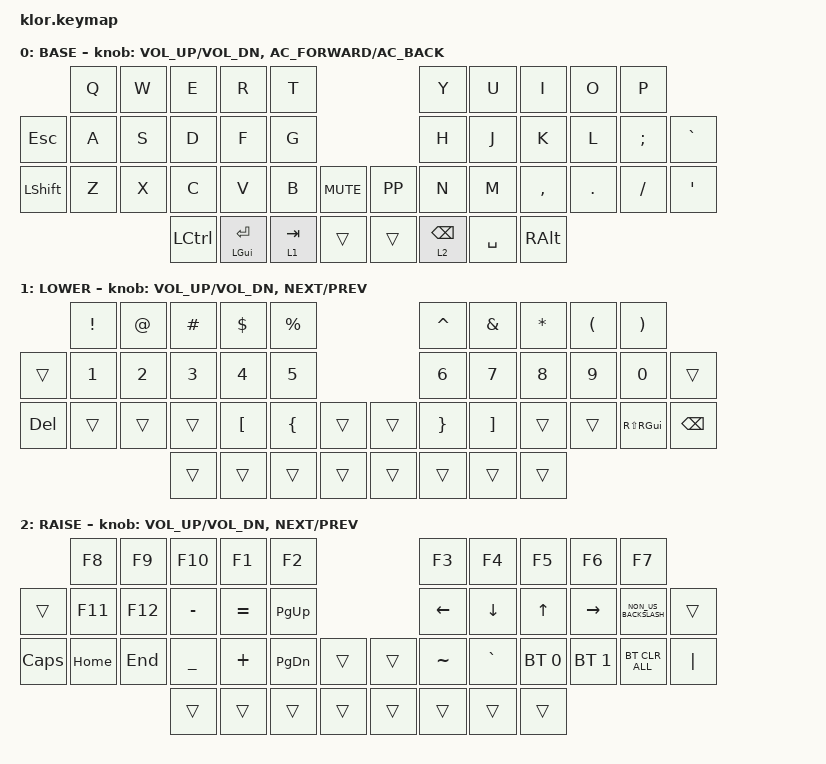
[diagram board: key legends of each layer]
//                               █         █    █            ▄▄▄▀▀▀▀▀▀▄▄▄        █▀▀▀▀▀▀▀▀▀▀█
//                               █        █     █          ▄▀            ▀▄      █          █
//                               █       █      █        ▄▀                ▀▄    █          █
//                               █      █       █        █                  █    █          █
//                               █     █        █       █                    █   █          █
//                               █    █         █       █                    █   █▄▄▄▄▄▄▄▄▄▄█
//                               █   █ █        █       █                    █   █      █
//                               █  █   █       █        █                  █    █       █
//                               █ █     █      █        ▀▄                ▄▀    █        █
//                               ██       █     █          ▀▄            ▄▀      █         █
//                               █         █    █▄▄▄▄▄▄▄▄    ▀▀▀▄▄▄▄▄▄▀▀▀        █          █
//
// ▄▄▄▄▄▄▄▄▄▄▄▄▄▄▄▄▄▄▄▄▄▄▄▄▄▄▄▄▄▄▄▄▄▄▄▄▄▄▄▄▄▄▄▄▄▄▄▄▄▄▄▄▄▄▄▄▄▄▄▄▄▄▄▄▄▄▄▄▄▄▄▄▄▄▄▄▄▄▄▄▄▄▄▄▄▄▄▄▄▄▄▄▄▄▄▄▄▄▄▄▄▄▄▄▄▄▄▄▄▄▄▄▄▄▄▄▄▄▄▄▄▄▄▄▄

#include <behaviors.dtsi>
#include <dt-bindings/zmk/bt.h>
#include <dt-bindings/zmk/keys.h>

#define BASE   0
#define RAISE  1
#define LOWER  2
#define ADJUST 3

&sensors {
    left_encoder { triggers-per-rotation = <15>; };

    right_encoder { triggers-per-rotation = <15>; };
};

/ {
    behaviors {
        hm: homerow_mods {
            compatible = "zmk,behavior-hold-tap";
            label = "HOMEROW_MODS";
            #binding-cells = <2>;
            tapping-term-ms = <250>;
            quick_tap_ms = <0>;
            flavor = "tap-preferred";
            bindings = <&kp>, <&kp>;
        };
    };

    combos {
        compatible = "zmk,combos";

        combo_esc {
            timeout-ms = <50>;
            key-positions = <0 1>;
            bindings = <&kp ESC>;
        };

        combo_closetab {
            timeout-ms = <50>;
            key-positions = <1 2>;
            bindings = <&macro_closetab>;
        };

        combo_lasttab {
            timeout-ms = <50>;
            key-positions = <2 3>;
            bindings = <&macro_lasttab>;
        };

        combo_prtscr {
            timeout-ms = <50>;
            key-positions = <3 4>;
            bindings = <&kp PSCRN>;
        };

        combo_terminal {
            timeout-ms = <50>;
            key-positions = <1 3>;
            bindings = <&macro_terminal>;
        };
    };

    macros {
        macro_closetab: macro_closetab {
            compatible = "zmk,behavior-macro";
            #binding-cells = <0>;
            bindings =
                <&macro_press>,
                <&kp LCTRL>,
                <&macro_tap>,
                <&kp F4>,
                <&macro_release>,
                <&kp LCTRL>;
        };

        macro_lasttab: macro_lasttab {
            compatible = "zmk,behavior-macro";
            #binding-cells = <0>;
            bindings =
                <&macro_press>,
                <&kp LCTRL>,
                <&macro_tap>,
                <&kp LS(T)>,
                <&macro_release>,
                <&kp LCTRL>;
        };

        macro_terminal: macro_terminal {
            compatible = "zmk,behavior-macro";
            #binding-cells = <0>;
            bindings =
                <&macro_press>,
                <&kp LCTRL>,
                <&macro_tap>,
                <&kp LA(T)>,
                <&macro_release>,
                <&kp LCTRL>;
        };
    };

    keymap {
        compatible = "zmk,keymap";

        // ▄▄▄▄▄▄▄▄▄▄▄▄▄▄▄▄▄▄▄▄▄▄▄▄▄▄▄▄▄▄▄▄▄▄▄▄▄▄▄▄▄▄▄▄▄▄▄▄▄▄▄▄▄▄▄▄▄▄▄▄▄▄▄▄▄▄▄▄▄▄▄▄▄▄▄▄▄▄▄▄▄▄▄▄▄▄▄▄▄▄▄▄▄▄▄▄▄▄▄▄▄▄▄▄▄▄▄▄▄▄▄▄▄▄▄▄▄▄▄▄▄▄▄▄▄▄▄▄▄▄▄▄▄▄▄▄▄▄▄▄▄▄

        base_layer {
            // ┌───────────────────────────────────────────────────────────┐

            label = "BASE";

            // └───────────────────────────────────────────────────────────┘
            /*           ┌─────────┬─────────┬─────────┬─────────┬─────────┐                    ┌─────────┬─────────┬─────────┬─────────┬─────────┐
             │    Q    │    W    │    E    │    R    │    T    │                    │    Y    │    U    │    I    │    O    │    P    │   
   ┌─────────┼─────────┼─────────┼─────────┼─────────┼─────────┤                    ├─────────┼─────────┼─────────┼─────────┼─────────┼─────────┐
   │   TAB   │    A    │    S    │    D    │    F    │    G    │                    │    H    │    J    │    K    │    L    │    ;    │    '    │
   ├─────────┼─────────┼─────────┼─────────┼─────────┼─────────┤╭────────╮╭────────╮├─────────┼─────────┼─────────┼─────────┼─────────┼─────────┤
   │   CTRL  │    Z    │    X    │    C    │    V    │    B    ││  MUTE  ││PLY/PSE ││    N    │    M    │    ,    │    .    │    /    │    \    │
   └─────────┴─────────┴─────────┼─────────┼─────────┼─────────┼╰────────╯╰────────╯┼─────────┼─────────┼─────────┼─────────┴─────────┴─────────┘
                                 │  LALT   │  LOWER  │  RALT   │  SPACE  ││  BSPCE  │  ENTER  │  RAISE  │    DEL  │  
                                 └─────────┴─────────┴─────────┴─────────┘└─────────┴─────────┴─────────┴─────────┘ */

            bindings = <
                &kp Q  &kp W  &kp E             &kp R               &kp T                            &kp Y            &kp U      &kp I          &kp O    &kp P
&kp ESCAPE      &kp A  &kp S  &kp D             &kp F               &kp G                            &kp H            &kp J      &kp K          &kp L    &kp SEMI  &kp GRAVE
&kp LEFT_SHIFT  &kp Z  &kp X  &kp C             &kp V               &kp B      &kp C_MUTE  &kp K_PP  &kp N            &kp M      &kp COMMA      &kp DOT  &kp FSLH  &kp SQT
                              &kp LEFT_CONTROL  &mt LEFT_GUI ENTER  &lt 1 TAB  &trans      &trans    &lt 2 BACKSPACE  &kp SPACE  &kp RIGHT_ALT
            >;

            sensor-bindings = <&inc_dec_kp C_VOL_UP C_VOL_DN &inc_dec_kp C_AC_FORWARD C_AC_BACK>;
        };

        // ▄▄▄▄▄▄▄▄▄▄▄▄▄▄▄▄▄▄▄▄▄▄▄▄▄▄▄▄▄▄▄▄▄▄▄▄▄▄▄▄▄▄▄▄▄▄▄▄▄▄▄▄▄▄▄▄▄▄▄▄▄▄▄▄▄▄▄▄▄▄▄▄▄▄▄▄▄▄▄▄▄▄▄▄▄▄▄▄▄▄▄▄▄▄▄▄▄▄▄▄▄▄▄▄▄▄▄▄▄▄▄▄▄▄▄▄▄▄▄▄▄▄▄▄▄▄▄▄▄▄▄▄▄▄▄▄▄▄▄▄▄▄

        lower_layer {
            // ┌───────────────────────────────────────────────────────────┐

            label = "LOWER";

            // └───────────────────────────────────────────────────────────┘
            /*           ┌─────────┬─────────┬─────────┬─────────┬─────────┐                    ┌─────────┬─────────┬─────────┬─────────┬─────────┐
             │ RGB_SPI │ RGB_HUI │         │         │    {    │                    │    }    │   LEFT  │   UP    │  RIGHT  │   HOME  │
   ┌─────────┼─────────┼─────────┼─────────┼─────────┼─────────┤                    ├─────────┼─────────┼─────────┼─────────┼─────────┼─────────┐
   │ RGB_BRI │ RGB_EFF │         │         │         │    [    │                    │    ]    │         │  DOWN   │         │  PSCRN  │  P UP   │
   ├─────────┼─────────┼─────────┼─────────┼─────────┼─────────┤╭────────╮╭────────╮├─────────┼─────────┼─────────┼─────────┼─────────┼─────────┤
   │ RGB_BRD │ RGB_SPD │ RGB_HUD │         │         │    (    ││  MUTE  ││PLY/PASE││    )    │         │         │         │   END   │ P DOWN  │
   └─────────┴─────────┴─────────┼─────────┼─────────┼─────────┼╰────────╯╰────────╯┼─────────┼─────────┼─────────┼─────────┴─────────┴─────────┘
                                 │         │         │         │  LSHIFT ││  RSHIFT │         │         │  ADJUST │  
                                 └─────────┴─────────┴─────────┴─────────┘└─────────┴─────────┴─────────┴─────────┘ */

            bindings = <
         &kp EXCLAMATION  &kp AT_SIGN   &kp HASH      &kp DOLLAR        &kp PERCENT                     &kp CARET        &kp AMPERSAND      &kp ASTERISK  &kp LEFT_PARENTHESIS  &kp RIGHT_PARENTHESIS
&trans   &kp NUMBER_1     &kp NUMBER_2  &kp NUMBER_3  &kp NUMBER_4      &kp N5                          &kp NUMBER_6     &kp N7             &kp N8        &kp N9                &kp N0                 &trans
&kp DEL  &trans           &trans        &trans        &kp LEFT_BRACKET  &kp LEFT_BRACE  &trans  &trans  &kp RIGHT_BRACE  &kp RIGHT_BRACKET  &trans        &trans                &kp RS(RIGHT_GUI)      &kp BACKSPACE
                                        &trans        &trans            &trans          &trans  &trans  &trans           &trans             &trans
            >;

            sensor-bindings = <&inc_dec_kp C_VOL_UP C_VOL_DN &inc_dec_kp C_NEXT C_PREV>;
        };

        // ▄▄▄▄▄▄▄▄▄▄▄▄▄▄▄▄▄▄▄▄▄▄▄▄▄▄▄▄▄▄▄▄▄▄▄▄▄▄▄▄▄▄▄▄▄▄▄▄▄▄▄▄▄▄▄▄▄▄▄▄▄▄▄▄▄▄▄▄▄▄▄▄▄▄▄▄▄▄▄▄▄▄▄▄▄▄▄▄▄▄▄▄▄▄▄▄▄▄▄▄▄▄▄▄▄▄▄▄▄▄▄▄▄▄▄▄▄▄▄▄▄▄▄▄▄

        raise_layer {
            // ┌───────────────────────────────────────────────────────────┐

            label = "RAISE";

            // └───────────────────────────────────────────────────────────┘
            /*           ┌─────────┬─────────┬─────────┬─────────┬─────────┐                    ┌─────────┬─────────┬─────────┬─────────┬─────────┐
             │   F1    │   F2    │   F3    │   F4    │   F5    │                    │   F6    │   F7    │   F8    │   F9    │   F10   │
   ┌─────────┼─────────┼─────────┼─────────┼─────────┼─────────┤                    ├─────────┼─────────┼─────────┼─────────┼─────────┼─────────┐
   │    -    │    !    │    @    │    #    │    $    │    %    │                    │    ^    │    &    │    `    │    ~    │    =    │    +    │
   ├─────────┼─────────┼─────────┼─────────┼─────────┼─────────┤╭────────╮╭────────╮├─────────┼─────────┼─────────┼─────────┼─────────┼─────────┤
   │    _    │    1    │    2    │    3    │    4    │    5    ││  MUTE  ││PLY/PASE││    6    │    7    │    8    │    9    │    0    │    *    │
   └─────────┴─────────┴─────────┼─────────┼─────────┼─────────┼╰────────╯╰────────╯┼─────────┼─────────┼─────────┼─────────┴─────────┴─────────┘
                                 │         │         │         │  LSHIFT ││  RSHIFT │         │         │         │  
                                 └─────────┴─────────┴─────────┴─────────┘└─────────┴─────────┴─────────┴─────────┘ */

            bindings = <
          &kp F8    &kp F9   &kp F10         &kp F1     &kp F2                         &kp F3     &kp F4     &kp F5        &kp F6        &kp F7
&trans    &kp F11   &kp F12  &kp MINUS       &kp EQUAL  &kp PAGE_UP                    &kp LEFT   &kp DOWN   &kp UP_ARROW  &kp RIGHT     &kp NON_US_BACKSLASH  &trans
&kp CAPS  &kp HOME  &kp END  &kp UNDERSCORE  &kp PLUS   &kp PAGE_DOWN  &trans  &trans  &kp TILDE  &kp GRAVE  &bt BT_SEL 0  &bt BT_SEL 1  &bt BT_CLR_ALL        &kp PIPE
                             &trans          &trans     &trans         &trans  &trans  &trans     &trans     &trans
            >;

            sensor-bindings = <&inc_dec_kp C_VOL_UP C_VOL_DN &inc_dec_kp C_NEXT C_PREV>;
        };

        // ▄▄▄▄▄▄▄▄▄▄▄▄▄▄▄▄▄▄▄▄▄▄▄▄▄▄▄▄▄▄▄▄▄▄▄▄▄▄▄▄▄▄▄▄▄▄▄▄▄▄▄▄▄▄▄▄▄▄▄▄▄▄▄▄▄▄▄▄▄▄▄▄▄▄▄▄▄▄▄▄▄▄▄▄▄▄▄▄▄▄▄▄▄▄▄▄▄▄▄▄▄▄▄▄▄▄▄▄▄▄▄▄▄▄▄▄▄▄▄▄▄▄▄▄▄
    };
};
